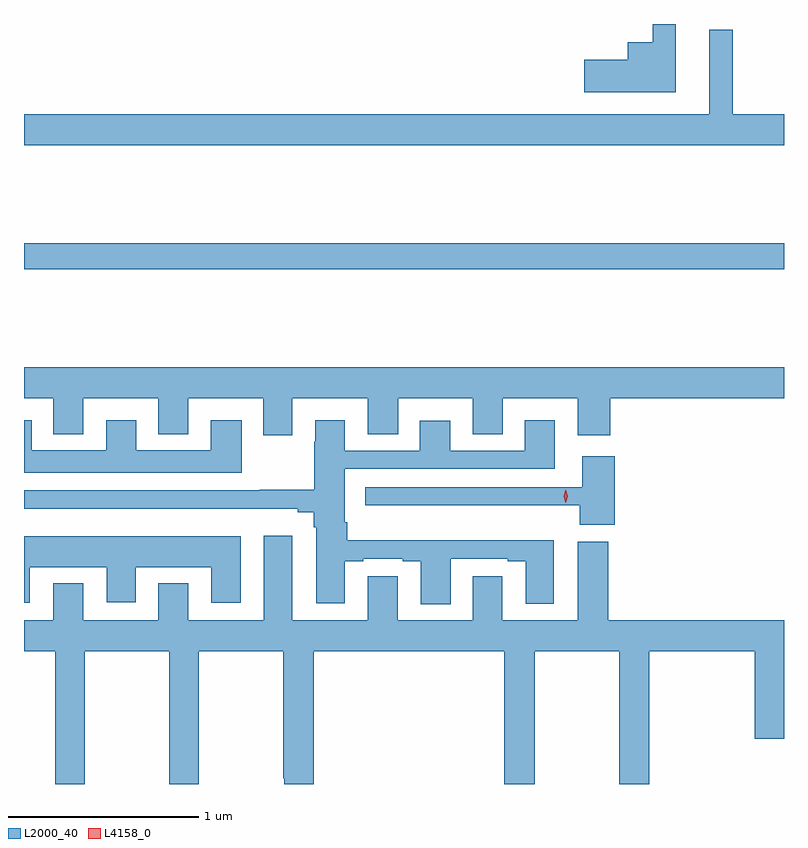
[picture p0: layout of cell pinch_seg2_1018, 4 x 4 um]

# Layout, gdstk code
import gdstk
lib = gdstk.Library(unit=1e-6, precision=1e-09)
def R(c, l, rs):  # rectangles x0, y0, x1, y1
    for r in rs: c.add(gdstk.rectangle(r[:2], r[2:], *l))
def P(c, l, *ps):  # polygons
    for p in ps: c.add(gdstk.Polygon(p, *l))
L2000_40 = (2000, 40)
L4158_0 = (4158, 0)

pinch_seg2_1018 = lib.new_cell('pinch_seg2_1018')
R(pinch_seg2_1018, L2000_40, [(363.76,625.672,367.76,625.808)])
P(pinch_seg2_1018, L2000_40, [(367.189,626.962),(367.068,626.962),(367.068,626.866),(366.938,626.866),(366.938,626.774),(366.708,626.774),(366.708,626.603),(367.189,626.603)],
  [(367.76,626.488),(367.489,626.488),(367.489,626.932),(367.367,626.932),(367.367,626.488),(363.76,626.488),(363.76,626.324),(367.76,626.324)],
  [(365.173,624.992),(365.57,624.992),(365.57,624.802),(365.731,624.802),(365.731,624.992),(366.122,624.992),(366.122,624.802),(366.28,624.802),(366.28,624.992),(366.674,624.992),(366.674,624.798),(366.845,624.798),(366.845,624.992),(367.76,624.992),(367.76,625.156),(363.76,625.156),(363.76,624.992),(363.914,624.992),(363.914,624.803),(364.072,624.803),(364.072,624.992),(364.466,624.992),(364.466,624.803),(364.624,624.803),(364.624,624.992),(365.018,624.992),(365.018,624.798),(365.173,624.798)],
  [(364.906,624.877),(364.742,624.877),(364.742,624.718),(364.351,624.718),(364.351,624.877),(364.193,624.877),(364.193,624.718),(363.802,624.718),(363.802,624.877),(363.76,624.877),(363.76,624.599),(364.906,624.599)],
  [(366.007,624.147),(366.305,624.147),(366.305,624.135),(366.401,624.135),(366.401,623.91),(366.547,623.91),(366.547,624.245),(365.462,624.245),(365.462,624.34),(365.449,624.34),(365.449,624.621),(366.553,624.621),(366.553,624.877),(366.395,624.877),(366.395,624.717),(366.004,624.717),(366.004,624.874),(365.843,624.874),(365.843,624.717),(365.449,624.717),(365.449,624.877),(365.294,624.877),(365.294,624.764),(365.287,624.764),(365.287,624.512),(365.002,624.512),(365.002,624.507),(363.76,624.507),(363.76,624.41),(365.201,624.41),(365.201,624.391),(365.285,624.391),(365.285,624.314),(365.297,624.314),(365.297,623.913),(365.449,623.913),(365.449,624.135),(365.545,624.135),(365.545,624.147),(365.753,624.147),(365.753,624.135),(365.849,624.135),(365.849,623.909),(366.007,623.909)],
  [(366.869,624.688),(366.698,624.688),(366.698,624.525),(365.556,624.525),(365.556,624.428),(366.686,624.428),(366.686,624.327),(366.869,624.327)],
  [(366.287,622.962),(366.447,622.962),(366.447,623.66),(366.892,623.66),(366.892,622.962),(367.052,622.962),(367.052,623.66),(367.607,623.66),(367.607,623.199),(367.76,623.199),(367.76,623.824),(366.835,623.824),(366.835,624.238),(366.674,624.238),(366.674,623.824),(366.277,623.824),(366.277,624.055),(366.122,624.055),(366.122,623.824),(365.728,623.824),(365.728,624.055),(365.57,624.055),(365.57,623.824),(365.173,623.824),(365.173,624.268),(365.021,624.268),(365.021,623.824),(364.624,623.824),(364.624,624.019),(364.466,624.019),(364.466,623.824),(364.072,623.824),(364.072,624.019),(363.914,624.019),(363.914,623.824),(363.76,623.824),(363.76,623.66),(363.925,623.66),(363.925,622.962),(364.08,622.962),(364.08,623.66),(364.525,623.66),(364.525,622.962),(364.68,622.962),(364.68,623.66),(365.125,623.66),(365.125,622.993),(365.129,622.993),(365.129,622.962),(365.285,622.962),(365.285,623.66),(366.287,623.66)],
  [(363.79,624.104),(364.196,624.104),(364.196,623.919),(364.348,623.919),(364.348,624.104),(364.745,624.104),(364.745,623.916),(364.9,623.916),(364.9,624.265),(363.76,624.265),(363.76,623.916),(363.79,623.916)])
P(pinch_seg2_1018, L4158_0, [(366.61,624.441),(366.601,624.477),(366.61,624.512),(366.611,624.512),(366.611,624.512),(366.621,624.477),(366.611,624.441),(366.611,624.441)])

lib.write_gds('pinch_seg2_1018.gds')
